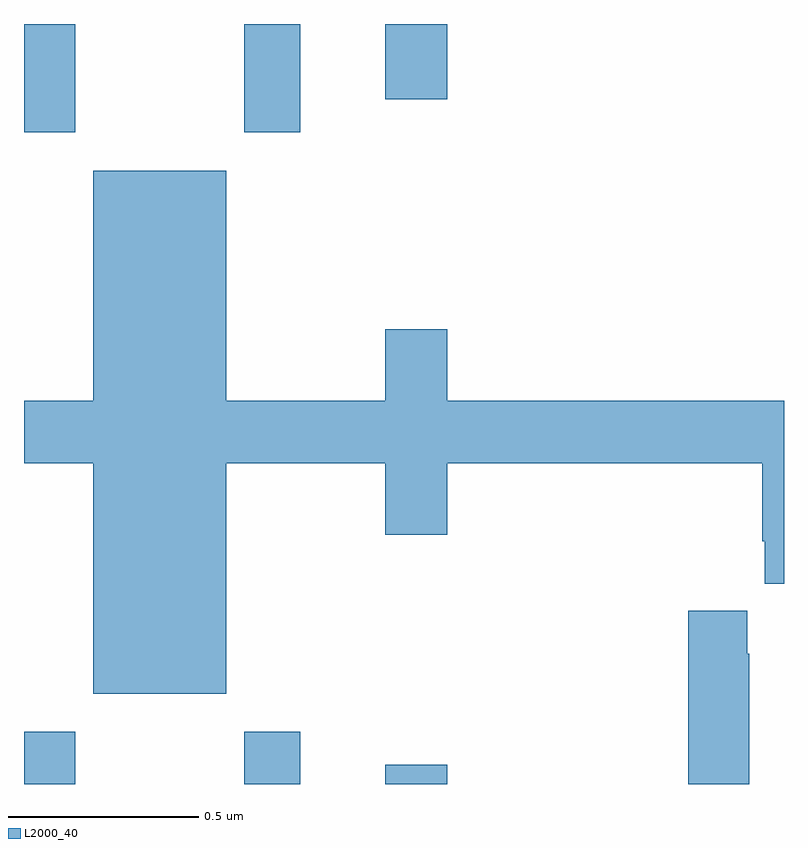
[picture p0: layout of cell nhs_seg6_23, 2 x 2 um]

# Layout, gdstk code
import gdstk
lib = gdstk.Library(unit=1e-6, precision=1e-09)
def R(c, l, rs):  # rectangles x0, y0, x1, y1
    for r in rs: c.add(gdstk.rectangle(r[:2], r[2:], *l))
def P(c, l, *ps):  # polygons
    for p in ps: c.add(gdstk.Polygon(p, *l))
L2000_40 = (2000, 40)

nhs_seg6_23 = lib.new_cell('nhs_seg6_23')
R(nhs_seg6_23, L2000_40, [(111,938.5,111.135,938.638), (111.58,938.5,111.727,938.638), (111.95,938.5,112.114,938.551), (111,940.215,111.135,940.5), (111.58,940.215,111.727,940.5), (111.95,940.302,112.114,940.5)])
P(nhs_seg6_23, L2000_40, [(111.532,939.344),(111.95,939.344),(111.95,939.156),(112.114,939.156),(112.114,939.344),(112.943,939.344),(112.943,939.139),(112.949,939.139),(112.949,939.027),(113,939.027),(113,939.508),(112.114,939.508),(112.114,939.697),(111.95,939.697),(111.95,939.508),(111.532,939.508),(111.532,940.114),(111.182,940.114),(111.182,939.508),(111,939.508),(111,939.344),(111.182,939.344),(111.182,938.738),(111.532,938.738)],
  [(112.908,938.843),(112.903,938.843),(112.903,938.956),(112.748,938.956),(112.748,938.5),(112.908,938.5)])

lib.write_gds('nhs_seg6_23.gds')
